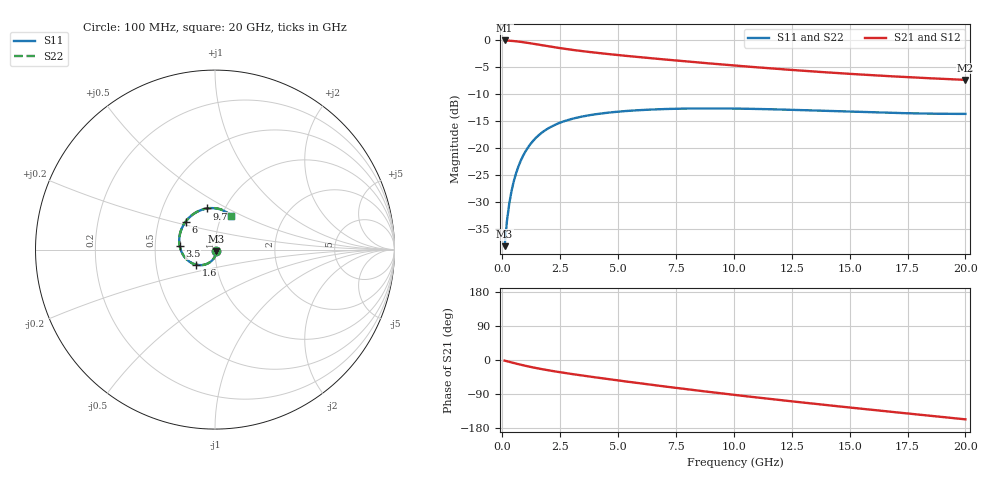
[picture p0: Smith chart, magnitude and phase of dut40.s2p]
! Touchstone file exported from HFSS 2024.1.0
!  File:  C:/UserFiles/LocalFiles/RDL_TSV_Batchsim/temp_RDL_TSV_40_1779404311.aedt
!  Generated:  07:12:25 AM May 22, 2026
!  Design:  RDL_TSV
!  Project:  temp_RDL_TSV_40_1779404311
!  Setup:  Setup1
!  Solution:  Sweep
! Variables:
!  dtsv = 14.34um
!  hbump = 3um
!  htsv = 97.87um
!  ldown = 389.53um
!  lrdl = 129.39um
!  p = 40
!  p1 = 42.24um
!  rhole = 10um
!  subl = 1686.15um
!  t = 450um
!  tdown = 4.48um
!  trdl = 4.69um
!  viad = 10um
!  wdown = 26.36um
!  wrdl = 10.93um
!  xbump = 18um
# GHz S MA R 50.000000
! Terminal data exported
! Port[1] = TM1_1_T1
! Port[2] = TM1_4_T1
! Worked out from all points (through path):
!   200 points, 100 MHz to 20 GHz, reference 50 ohm
!   highest |S21| = -0.07 dB at 100 MHz (marker M1); lowest = -7.4 dB at 20 GHz (marker M2)
!   group delay of S21, straight-line fit = 20.4 ps
!   lowest |S11| = -38.1 dB at 100 MHz (marker M3), VSWR 1.03, Z = 50.7 - j1.03 ohm
!   |S11| at or under -10 dB: start of sweep to end of sweep
!   |S22| runs from -38.1 to -12.6 dB; largest |S21 - S12| = 9.3e-15
!   S11 on the Smith chart (normalised r, x): 100 MHz: 1.01, -0.02; 1.6 GHz: 0.80, -0.14; 3.5 GHz: 0.67, +0.03; 6 GHz: 0.69, +0.22; 9.7 GHz: 0.83, +0.40; 20 GHz: 1.10, +0.43
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0.1  0.01247 -54.2  0.9915 -1.7  0.9915 -1.7  0.01247 -54.2
! Gamma 0 0 0 0
! Port Impedance 50 0 50 0
0.2  0.0212 -74.3  0.9895 -3.3  0.9895 -3.3  0.0212 -74.3
0.3  0.03074 -84.8  0.9867 -4.9  0.9867 -4.9  0.03074 -84.8
0.4  0.04041 -92.2  0.9831 -6.5  0.9831 -6.5  0.0404 -92.2
0.6  0.0593 -103.4  0.9738 -9.6  0.9738 -9.6  0.0593 -103.4
0.8  0.07708 -112.5  0.9622 -12.5  0.9622 -12.5  0.07708 -112.6
1  0.09346 -120.6  0.9489 -15.3  0.9489 -15.3  0.09346 -120.6
1.3  0.1152 -131.3  0.9269 -19.3  0.9269 -19.3  0.1152 -131.4
1.6  0.1336 -141.0  0.9043 -22.9  0.9043 -22.9  0.1336 -141.0
2  0.1535 -152.4  0.8751 -27.3  0.8751 -27.3  0.1536 -152.4
2.4  0.1692 -162.5  0.8483 -31.3  0.8483 -31.3  0.1692 -162.6
3.5  0.1975 174.3  0.7879 -41.3  0.7879 -41.3  0.1976 174.3
4.6  0.2138 155.9  0.7415 -50.6  0.7415 -50.6  0.214 155.8
6  0.2257 136.7  0.6928 -61.9  0.6928 -61.9  0.226 136.6
6.8  0.2297 127.3  0.668 -68.2  0.668 -68.2  0.2301 127.2
8.2  0.2332 113.1  0.6281 -78.8  0.6281 -78.8  0.2337 113.1
9.7  0.2332 100.7  0.5898 -89.8  0.5898 -89.8  0.2338 100.6
10.1  0.2327 97.7  0.5803 -92.6  0.5803 -92.6  0.2333 97.7
11.7  0.2292 87.6  0.5453 -103.7  0.5453 -103.7  0.2298 87.6
13.4  0.2237 79.4  0.5132 -115.0  0.5132 -115.0  0.2244 79.3
16.7  0.2128 69.3  0.4641 -136.1  0.4641 -136.1  0.2136 69.2
20  0.2079 64.9  0.4286 -156.6  0.4286 -156.6  0.2087 64.8
